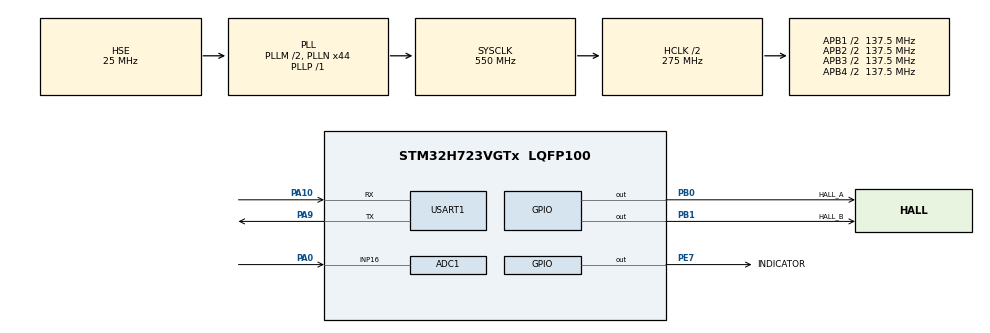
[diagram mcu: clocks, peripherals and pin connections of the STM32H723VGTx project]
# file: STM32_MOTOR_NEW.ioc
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ADC1.Channel-0\#ChannelRegularConversion=ADC_CHANNEL_16
ADC1.ContinuousConvMode=ENABLE
ADC1.ConversionDataManagement=ADC_CONVERSIONDATA_DMA_CIRCULAR
ADC1.NbrOfConversionFlag=1
ADC1.OffsetNumber-0\#ChannelRegularConversion=ADC_OFFSET_NONE
ADC1.OffsetSignedSaturation-0\#ChannelRegularConversion=DISABLE
ADC1.Rank-0\#ChannelRegularConversion=1
ADC1.SamplingTime-0\#ChannelRegularConversion=ADC_SAMPLETIME_810CYCLES_5
ADC1.master=1
CORTEX_M7.default_mode_Activation=1
Dma.ADC1.0.Direction=DMA_PERIPH_TO_MEMORY
Dma.ADC1.0.EventEnable=DISABLE
Dma.ADC1.0.FIFOMode=DMA_FIFOMODE_DISABLE
Dma.ADC1.0.Instance=DMA1_Stream0
Dma.ADC1.0.MemDataAlignment=DMA_MDATAALIGN_HALFWORD
Dma.ADC1.0.MemInc=DMA_MINC_ENABLE
Dma.ADC1.0.Mode=DMA_CIRCULAR
Dma.ADC1.0.PeriphDataAlignment=DMA_PDATAALIGN_HALFWORD
Dma.ADC1.0.PeriphInc=DMA_PINC_DISABLE
Dma.ADC1.0.Polarity=HAL_DMAMUX_REQ_GEN_RISING
Dma.ADC1.0.Priority=DMA_PRIORITY_LOW
Dma.ADC1.0.RequestNumber=1
Dma.ADC1.0.SignalID=NONE
Dma.ADC1.0.SyncEnable=DISABLE
Dma.ADC1.0.SyncPolarity=HAL_DMAMUX_SYNC_NO_EVENT
Dma.ADC1.0.SyncRequestNumber=1
Dma.ADC1.0.SyncSignalID=NONE
Dma.Request0=ADC1
Mcu.Family=STM32H7
Mcu.Name=STM32H723VGTx
Mcu.Package=LQFP100
NVIC.ADC_IRQn=true\:0\:0\:false\:false\:true\:true\:true\:true
NVIC.DMA1_Stream0_IRQn=true\:0\:0\:false\:false\:true\:false\:true\:true
NVIC.PriorityGroup=NVIC_PRIORITYGROUP_4
NVIC.TIM2_IRQn=true\:0\:0\:false\:false\:true\:true\:true\:true
NVIC.TIM8_BRK_TIM12_IRQn=true\:0\:0\:false\:false\:true\:true\:true\:true
NVIC.TIM8_CC_IRQn=true\:0\:0\:false\:false\:true\:true\:true\:true
NVIC.TIM8_TRG_COM_TIM14_IRQn=true\:0\:0\:false\:false\:true\:true\:true\:true
NVIC.TIM8_UP_TIM13_IRQn=true\:0\:0\:false\:false\:true\:true\:true\:true
PA0.Mode=IN16-Single-Ended
PA0.Signal=ADC1_INP16
PA10.Mode=Asynchronous
PA10.Signal=USART1_RX
PA9.Mode=Asynchronous
PA9.Signal=USART1_TX
PB0.GPIO_Label=HALL_A
PB0.GPIO_Speed=GPIO_SPEED_FREQ_VERY_HIGH
PB0.Signal=GPIO_Output
PB1.GPIO_Label=HALL_B
PB1.GPIO_Speed=GPIO_SPEED_FREQ_VERY_HIGH
PB1.Signal=GPIO_Output
PE7.GPIO_Label=INDICATOR
PE7.GPIO_Speed=GPIO_SPEED_FREQ_VERY_HIGH
PE7.Signal=GPIO_Output
PH0-OSC_IN.Mode=HSE-External-Oscillator
PH0-OSC_IN.Signal=RCC_OSC_IN
PH1-OSC_OUT.Mode=HSE-External-Oscillator
PH1-OSC_OUT.Signal=RCC_OSC_OUT
ProjectManager.HeapSize=0x400
ProjectManager.StackSize=0x400
ProjectManager.TargetToolchain=CMake
RCC.ADCFreq_Value=125000000
RCC.APB1Freq_Value=137500000
RCC.APB2Freq_Value=137500000
RCC.APB3Freq_Value=137500000
RCC.APB4Freq_Value=137500000
RCC.CortexFreq_Value=550000000
RCC.D1PPRE=RCC_APB3_DIV2
RCC.D2PPRE1=RCC_APB1_DIV2
RCC.D2PPRE2=RCC_APB2_DIV2
RCC.D3PPRE=RCC_APB4_DIV2
RCC.DIVM1=2
RCC.DIVM2=2
RCC.DIVN1=44
RCC.DIVN2=20
RCC.DIVP1=1
RCC.HCLKFreq_Value=275000000
RCC.HPRE=RCC_HCLK_DIV2
RCC.PLL2FRACN=0
RCC.PLL3FRACN=0
RCC.PLLFRACN=0
RCC.PLLSourceVirtual=RCC_PLLSOURCE_HSE
RCC.SYSCLKFreq_VALUE=550000000
RCC.SYSCLKSource=RCC_SYSCLKSOURCE_PLLCLK
RCC.USBFreq_Value=275000000
TIM2.AutoReloadPreload=TIM_AUTORELOAD_PRELOAD_ENABLE
TIM2.Period=100
TIM2.Prescaler=275-1
USART1.VirtualMode-Asynchronous=VM_ASYNC
VP_MEMORYMAP_VS_MEMORYMAP.Mode=CurAppReg
VP_TIM2_VS_ClockSourceINT.Mode=Internal
VP_TIM8_VS_ClockSourceINT.Mode=Internal
board=custom

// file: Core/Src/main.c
/* USER CODE BEGIN Header */
/**
  ******************************************************************************
  * @file           : main.c
  * @brief          : Main program body
  ******************************************************************************
  * @attention
  *
  * Copyright (c) 2025 STMicroelectronics.
  * All rights reserved.
  *
  * This software is licensed under terms that can be found in the LICENSE file
  * in the root directory of this software component.
  * If no LICENSE file comes with this software, it is provided AS-IS.
  *
  ******************************************************************************
  */
/* USER CODE END Header */
#include "main.h"
#include "adc.h"
#include "dma.h"
#include "tim.h"
#include "usart.h"
#include "gpio.h"

/* USER CODE BEGIN Includes */
#include "stm32h7xx_hal_adc_ex.h"
#include "motor_sim.h"

/* USER CODE END Includes */

/* USER CODE BEGIN PV */

#define ADC_BUFFER_LENGTH 16U
__attribute__((section(".dma_buffer"), aligned(4))) uint16_t g_adcDmaBuffer[ADC_BUFFER_LENGTH];
volatile uint16_t g_adcLatestSample = 0U;
volatile uint8_t g_adcDataReady = 0U;
volatile uint32_t g_adcErrorCode = HAL_ADC_ERROR_NONE;

/* Motor simulation variables */
MotorSim_StateTypeDef g_motorState;
MotorSim_ParamTypeDef g_motorParam;
volatile uint8_t g_motorStepFlag = 0U;

/* USER CODE END PV */

void SystemClock_Config(void);
static void MPU_Config(void);

int main(void)
{

  /* MPU Configuration--------------------------------------------------------*/
  MPU_Config();

  /* MCU Configuration--------------------------------------------------------*/

  /* Reset of all peripherals, Initializes the Flash interface and the Systick. */
  HAL_Init();

  /* Configure the system clock */
  SystemClock_Config();

  /* Initialize all configured peripherals */
  MX_GPIO_Init();
  MX_DMA_Init();
  MX_ADC1_Init();
  MX_TIM2_Init();
  MX_TIM8_Init();
  MX_USART1_UART_Init();
  /* USER CODE BEGIN 2 */

  /* Initialize motor simulation with default parameters */
  MotorSim_GetDefaultParams(&g_motorParam);
  MotorSim_Init(&g_motorState, &g_motorParam);

  /* Calibrate ADC1 */
  if (HAL_ADCEx_Calibration_Start(&hadc1, ADC_CALIB_OFFSET_LINEARITY, ADC_SINGLE_ENDED) != HAL_OK)
  {
    Error_Handler();
  }

  /* Start ADC DMA conversion */
  if (HAL_ADC_Start_DMA(&hadc1, (uint32_t *)g_adcDmaBuffer, ADC_BUFFER_LENGTH) != HAL_OK)
  {
    Error_Handler();
  }

  /* Start timer for motor simulation step */
  if (HAL_TIM_Base_Start_IT(&htim2) != HAL_OK)
  {
    Error_Handler();
  }

  /* USER CODE END 2 */

  /* Infinite loop */
  while (1)
  {

    /* USER CODE BEGIN 3 */

    /* Process motor simulation step when timer flag is set */
    if (g_motorStepFlag != 0U)
    {
      HAL_GPIO_WritePin(INDICATOR_GPIO_Port, INDICATOR_Pin, GPIO_PIN_SET);
      g_motorStepFlag = 0U;

      /* Convert ADC sample to voltage (assuming 0-3.3V range, 16-bit ADC) */
      float voltage_input = ((float)g_adcLatestSample / 65535.0f) * 3.3f;

      /* Execute motor simulation step */
      MotorSim_Step(&g_motorState, &g_motorParam, voltage_input);
      HAL_GPIO_WritePin(INDICATOR_GPIO_Port, INDICATOR_Pin, GPIO_PIN_RESET);
    }

    /* Process ADC data when ready */
    if (g_adcDataReady != 0U)
    {
      g_adcDataReady = 0U;
      g_adcLatestSample = g_adcDmaBuffer[ADC_BUFFER_LENGTH - 1U];
    }

    /* Check for ADC errors */
    if (g_adcErrorCode != HAL_ADC_ERROR_NONE)
    {
      /* Error handling - could log or reset */
      g_adcErrorCode = HAL_ADC_ERROR_NONE;
    }

    //HAL_Delay(10U);
  }
  /* USER CODE END 3 */
}

void SystemClock_Config(void)
{
  RCC_OscInitTypeDef RCC_OscInitStruct = {0};
  RCC_ClkInitTypeDef RCC_ClkInitStruct = {0};

  /** Supply configuration update enable
  */
  HAL_PWREx_ConfigSupply(PWR_LDO_SUPPLY);

  /** Configure the main internal regulator output voltage
  */
  __HAL_PWR_VOLTAGESCALING_CONFIG(PWR_REGULATOR_VOLTAGE_SCALE0);

  while(!__HAL_PWR_GET_FLAG(PWR_FLAG_VOSRDY)) {}

  /** Initializes the RCC Oscillators according to the specified parameters
  * in the RCC_OscInitTypeDef structure.
  */
  RCC_OscInitStruct.OscillatorType = RCC_OSCILLATORTYPE_HSE;
  RCC_OscInitStruct.HSEState = RCC_HSE_ON;
  RCC_OscInitStruct.PLL.PLLState = RCC_PLL_ON;
  RCC_OscInitStruct.PLL.PLLSource = RCC_PLLSOURCE_HSE;
  RCC_OscInitStruct.PLL.PLLM = 2;
  RCC_OscInitStruct.PLL.PLLN = 44;
  RCC_OscInitStruct.PLL.PLLP = 1;
  RCC_OscInitStruct.PLL.PLLQ = 2;
  RCC_OscInitStruct.PLL.PLLR = 2;
  RCC_OscInitStruct.PLL.PLLRGE = RCC_PLL1VCIRANGE_3;
  RCC_OscInitStruct.PLL.PLLVCOSEL = RCC_PLL1VCOWIDE;
  RCC_OscInitStruct.PLL.PLLFRACN = 0;
  if (HAL_RCC_OscConfig(&RCC_OscInitStruct) != HAL_OK)
  {
    Error_Handler();
  }

  /** Initializes the CPU, AHB and APB buses clocks
  */
  RCC_ClkInitStruct.ClockType = RCC_CLOCKTYPE_HCLK|RCC_CLOCKTYPE_SYSCLK
                              |RCC_CLOCKTYPE_PCLK1|RCC_CLOCKTYPE_PCLK2
                              |RCC_CLOCKTYPE_D3PCLK1|RCC_CLOCKTYPE_D1PCLK1;
  RCC_ClkInitStruct.SYSCLKSource = RCC_SYSCLKSOURCE_PLLCLK;
  RCC_ClkInitStruct.SYSCLKDivider = RCC_SYSCLK_DIV1;
  RCC_ClkInitStruct.AHBCLKDivider = RCC_HCLK_DIV2;
  RCC_ClkInitStruct.APB3CLKDivider = RCC_APB3_DIV2;
  RCC_ClkInitStruct.APB1CLKDivider = RCC_APB1_DIV2;
  RCC_ClkInitStruct.APB2CLKDivider = RCC_APB2_DIV2;
  RCC_ClkInitStruct.APB4CLKDivider = RCC_APB4_DIV2;

  if (HAL_RCC_ClockConfig(&RCC_ClkInitStruct, FLASH_LATENCY_3) != HAL_OK)
  {
    Error_Handler();
  }
}

/* USER CODE BEGIN 4 */

/**
  * @brief  ADC conversion complete callback
  * @param  hadc ADC handle
  * @retval None
  */
void HAL_ADC_ConvCpltCallback(ADC_HandleTypeDef *hadc)
{
  if (hadc->Instance == ADC1)
  {
    g_adcDataReady = 1U;
  }
}

/**
  * @brief  ADC error callback
  * @param  hadc ADC handle
  * @retval None
  */
void HAL_ADC_ErrorCallback(ADC_HandleTypeDef *hadc)
{
  if (hadc->Instance == ADC1)
  {
    g_adcErrorCode = HAL_ADC_GetError(hadc);
  }
}

/**
  * @brief  ADC half conversion complete callback
  * @param  hadc ADC handle
  * @retval None
  */
void HAL_ADC_ConvHalfCpltCallback(ADC_HandleTypeDef *hadc)
{
  if (hadc->Instance == ADC1)
  {
    /* Half-buffer ready if needed for double-buffer processing */
  }
}

/**
  * @brief  Timer period elapsed callback
  * @param  htim Timer handle
  * @retval None
  */
void HAL_TIM_PeriodElapsedCallback(TIM_HandleTypeDef *htim)
{
  if (htim->Instance == TIM2)
  {
    /* Set flag to trigger motor simulation step in main loop */
    g_motorStepFlag = 1U;
  }
}

/* USER CODE END 4 */

 /* MPU Configuration */

void MPU_Config(void)
{
  MPU_Region_InitTypeDef MPU_InitStruct = {0};

  /* Disables the MPU */
  HAL_MPU_Disable();

  /** Initializes and configures the Region and the memory to be protected
  */
  MPU_InitStruct.Enable = MPU_REGION_ENABLE;
  MPU_InitStruct.Number = MPU_REGION_NUMBER0;
  MPU_InitStruct.BaseAddress = 0x0;
  MPU_InitStruct.Size = MPU_REGION_SIZE_4GB;
  MPU_InitStruct.SubRegionDisable = 0x87;
  MPU_InitStruct.TypeExtField = MPU_TEX_LEVEL0;
  MPU_InitStruct.AccessPermission = MPU_REGION_NO_ACCESS;
  MPU_InitStruct.DisableExec = MPU_INSTRUCTION_ACCESS_DISABLE;
  MPU_InitStruct.IsShareable = MPU_ACCESS_SHAREABLE;
  MPU_InitStruct.IsCacheable = MPU_ACCESS_NOT_CACHEABLE;
  MPU_InitStruct.IsBufferable = MPU_ACCESS_NOT_BUFFERABLE;

  HAL_MPU_ConfigRegion(&MPU_InitStruct);
  /* Enables the MPU */
  HAL_MPU_Enable(MPU_PRIVILEGED_DEFAULT);

}

void Error_Handler(void)
{
  __disable_irq();
  while (1)
  {
  }
}
